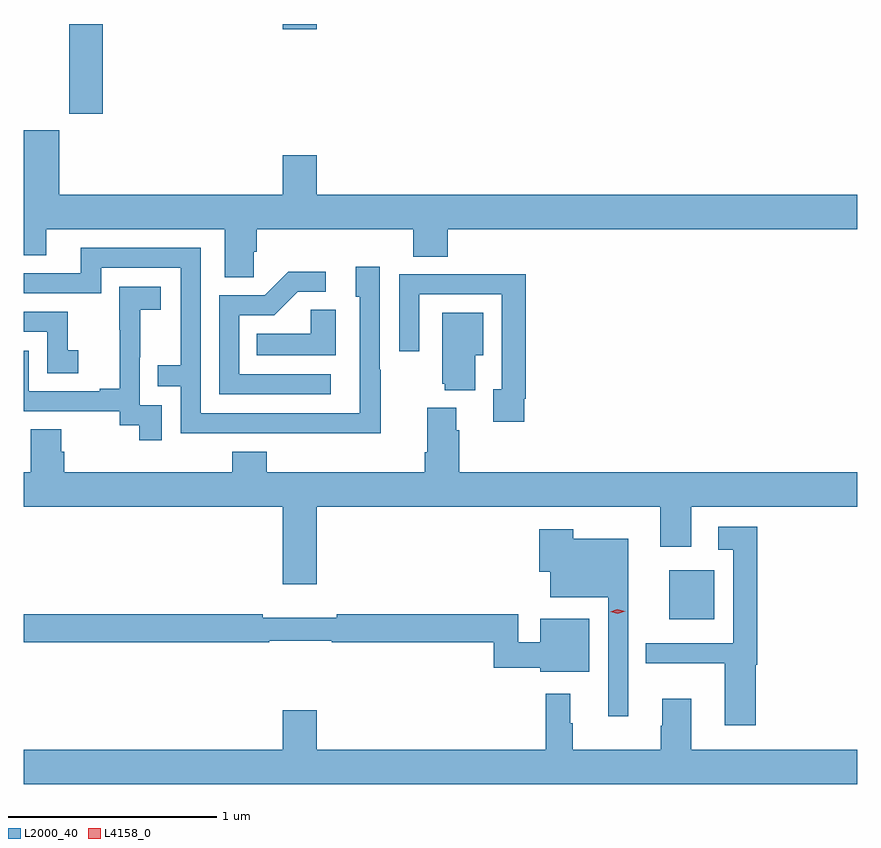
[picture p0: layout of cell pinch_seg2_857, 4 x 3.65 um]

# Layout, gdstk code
import gdstk
lib = gdstk.Library(unit=1e-6, precision=1e-09)
def R(c, l, rs):  # rectangles x0, y0, x1, y1
    for r in rs: c.add(gdstk.rectangle(r[:2], r[2:], *l))
def P(c, l, *ps):  # polygons
    for p in ps: c.add(gdstk.Polygon(p, *l))
L2000_40 = (2000, 40)
L4158_0 = (4158, 0)

pinch_seg2_857 = lib.new_cell('pinch_seg2_857')
R(pinch_seg2_857, L2000_40, [(562.466,601.808,562.684,602.041), (559.588,604.233,559.748,604.664), (560.612,604.638,560.776,604.664)])
P(pinch_seg2_857, L2000_40, [(560.472,603.571),(560.486,603.571),(560.486,603.68),(561.239,603.68),(561.239,603.547),(561.404,603.547),(561.404,603.68),(563.369,603.68),(563.369,603.844),(560.776,603.844),(560.776,604.033),(560.612,604.033),(560.612,603.844),(559.54,603.844),(559.54,604.153),(559.369,604.153),(559.369,603.553),(559.477,603.553),(559.477,603.68),(560.333,603.68),(560.333,603.448),(560.472,603.448)],
  [(561.081,603.005),(561.078,603.005),(561.078,603.499),(560.963,603.499),(560.963,603.354),(560.982,603.354),(560.982,602.796),(560.217,602.796),(560.217,603.591),(559.643,603.591),(559.643,603.468),(559.369,603.468),(559.369,603.372),(559.74,603.372),(559.74,603.495),(560.121,603.495),(560.121,603.026),(560.011,603.026),(560.011,602.925),(560.121,602.925),(560.121,602.7),(560.617,602.7),(560.617,602.699),(561.081,602.699)],
  [(560.842,602.982),(560.403,602.982),(560.403,603.267),(560.572,603.267),(560.683,603.378),(560.818,603.378),(560.818,603.476),(560.639,603.476),(560.526,603.363),(560.307,603.363),(560.307,602.886),(560.842,602.886)],
  [(561.772,602.866),(561.779,602.866),(561.779,603.464),(561.487,603.464),(561.487,603.462),(561.171,603.462),(561.171,603.093),(561.267,603.093),(561.267,603.366),(561.663,603.366),(561.663,602.91),(561.623,602.91),(561.623,602.754),(561.772,602.754)],
  [(560.031,602.835),(559.926,602.835),(559.926,603.065),(559.928,603.065),(559.928,603.293),(560.026,603.293),(560.026,603.403),(559.828,603.403),(559.828,603.197),(559.829,603.197),(559.829,602.914),(559.733,602.914),(559.733,602.901),(559.392,602.901),(559.392,603.096),(559.369,603.096),(559.369,602.805),(559.83,602.805),(559.83,602.737),(559.923,602.737),(559.923,602.667),(560.031,602.667)],
  [(560.866,603.293),(560.745,603.293),(560.745,603.178),(560.488,603.178),(560.488,603.074),(560.866,603.074)],
  [(559.63,603.097),(559.581,603.097),(559.581,603.282),(559.369,603.282),(559.369,603.186),(559.482,603.186),(559.482,602.988),(559.63,602.988)],
  [(561.535,603.074),(561.574,603.074),(561.574,603.277),(561.377,603.277),(561.377,602.937),(561.389,602.937),(561.389,602.906),(561.535,602.906)],
  [(559.549,602.61),(559.549,602.72),(559.402,602.72),(559.402,602.512),(559.369,602.512),(559.369,602.348),(560.612,602.348),(560.612,601.974),(560.776,601.974),(560.776,602.348),(562.424,602.348),(562.424,602.154),(562.573,602.154),(562.573,602.348),(563.369,602.348),(563.369,602.512),(561.458,602.512),(561.458,602.714),(561.445,602.714),(561.445,602.821),(561.305,602.821),(561.305,602.608),(561.293,602.608),(561.293,602.512),(560.534,602.512),(560.534,602.611),(560.369,602.611),(560.369,602.512),(559.562,602.512),(559.562,602.61)],
  [(562.883,601.589),(562.889,601.589),(562.889,602.251),(562.701,602.251),(562.701,602.141),(562.773,602.141),(562.773,601.692),(562.354,601.692),(562.354,601.595),(562.733,601.595),(562.733,601.299),(562.883,601.299)],
  [(562.269,601.817),(562.271,601.817),(562.271,602.194),(562.006,602.194),(562.006,602.239),(561.842,602.239),(561.842,602.036),(561.896,602.036),(561.896,601.913),(562.173,601.913),(562.173,601.341),(562.269,601.341)],
  [(562.084,601.81),(561.848,601.81),(561.848,601.696),(561.741,601.696),(561.741,601.832),(560.872,601.832),(560.872,601.813),(560.516,601.813),(560.516,601.832),(559.369,601.832),(559.369,601.696),(560.548,601.696),(560.548,601.704),(560.848,601.704),(560.848,601.696),(561.625,601.696),(561.625,601.575),(561.848,601.575),(561.848,601.556),(562.084,601.556)],
  [(563.369,601.18),(562.573,601.18),(562.573,601.426),(562.433,601.426),(562.433,601.295),(562.426,601.295),(562.426,601.18),(562.003,601.18),(562.003,601.307),(561.992,601.307),(561.992,601.45),(561.874,601.45),(561.874,601.18),(560.776,601.18),(560.776,601.369),(560.612,601.369),(560.612,601.18),(559.369,601.18),(559.369,601.016),(563.369,601.016)])
P(pinch_seg2_857, L4158_0, [(562.219,601.834),(562.183,601.842),(562.183,601.843),(562.183,601.843),(562.218,601.854),(562.255,601.846),(562.255,601.846),(562.255,601.846)])

lib.write_gds('pinch_seg2_857.gds')
